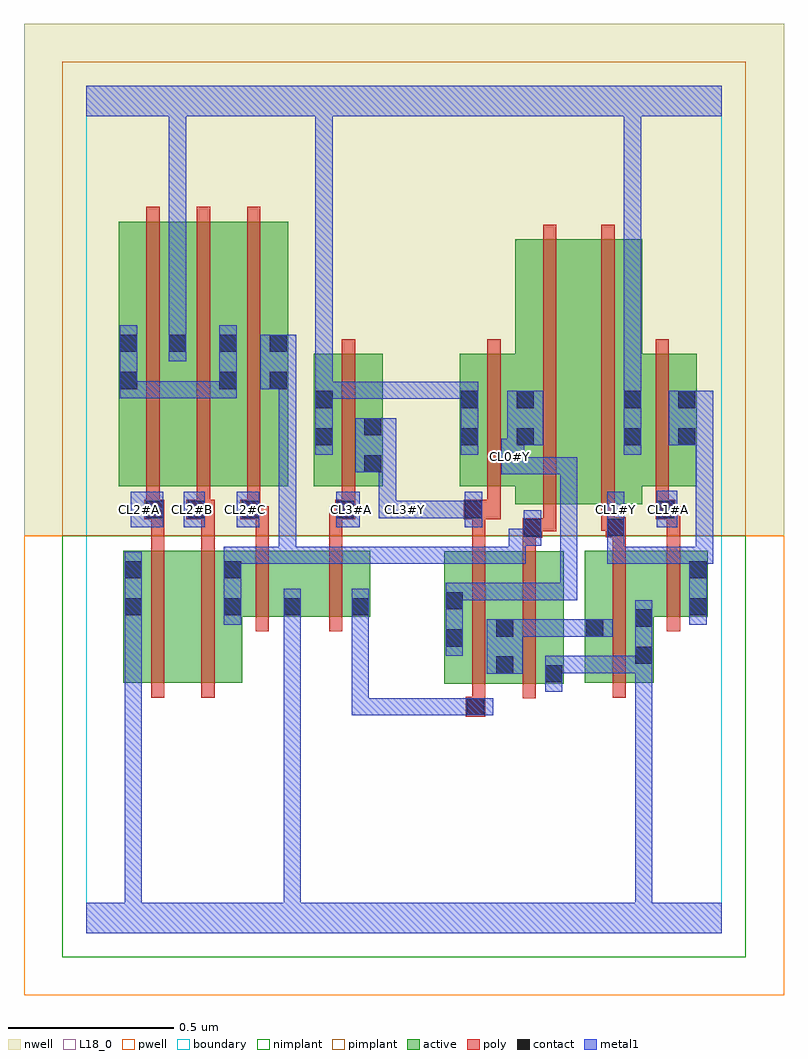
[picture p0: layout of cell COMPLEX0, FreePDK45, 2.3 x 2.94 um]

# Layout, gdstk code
import gdstk
lib = gdstk.Library(unit=1e-6, precision=1e-09)
def R(c, l, rs):  # rectangles x0, y0, x1, y1
    for r in rs: c.add(gdstk.rectangle(r[:2], r[2:], *l))
def A(c, l, x, y, w, h, nx, ny, dx, dy):  # array of equal rectangles
    R(c, l, [(x+i*dx, y+j*dy, x+i*dx+w, y+j*dy+h) for i in range(nx) for j in range(ny)])
active = (1, 0)
pwell = (2, 0)
nwell = (3, 0)
nimplant = (4, 0)
pimplant = (5, 0)
poly = (9, 0)
contact = (10, 0)
metal1 = (11, 0)
L18_0 = (18, 0)
boundary = (235, 0)

complex0 = lib.new_cell('COMPLEX0')
R(complex0, active, [(1.082,0.754,1.294,1.154), (1.234,0.754,1.442,1.154), (1.382,0.754,1.442,1.154), (0.112,0.756,0.172,1.156), (0.112,0.756,0.292,1.156), (0.292,0.756,0.472,1.156), (0.412,0.756,0.472,1.156), (1.082,0.756,1.142,1.154), (1.234,0.756,1.294,0.952), (1.506,0.756,1.714,1.156), (1.506,0.756,1.566,1.156), (1.654,0.81,1.714,0.982), (0.412,0.956,0.652,1.156), (0.592,0.956,0.652,1.156), (0.592,0.956,0.858,1.156), (0.798,0.956,0.858,1.156), (1.654,0.956,1.878,1.156), (1.818,0.956,1.878,1.156), (1.296,1.296,1.5,2.096), (1.5,1.296,1.68,2.096), (0.098,1.35,0.158,2.15), (0.098,1.35,0.306,2.15), (0.246,1.35,0.458,2.15), (0.398,1.35,0.61,2.15), (0.55,1.35,0.61,2.15), (0.688,1.35,0.896,1.75), (0.688,1.35,0.748,1.75), (0.836,1.35,0.896,1.75), (1.128,1.35,1.188,1.75), (1.128,1.35,1.356,1.75), (1.62,1.35,1.844,1.75), (1.784,1.35,1.844,1.75), (0.398,1.416,0.458,2.15), (1.296,1.47,1.356,1.644), (1.62,1.47,1.68,1.644), (0.246,1.526,0.306,2.15)])
R(complex0, pwell, [(-0.188,-0.188,2.108,1.2)])
R(complex0, nwell, [(-0.188,1.2,2.108,2.748)])
R(complex0, nimplant, [(-0.072,-0.072,1.992,1.2)])
R(complex0, pimplant, [(-0.072,1.2,1.992,2.632)])
A(complex0, poly, 0.182, 1.27, 0.04, 0.076, 3, 1, 0.152, 0)
A(complex0, poly, 0.182, 1.306, 0.04, 0.888, 3, 1, 0.152, 0)
R(complex0, poly, [(1.146,0.654,1.206,0.714), (1.166,0.674,1.206,0.75), (1.166,0.71,1.206,1.198), (1.318,0.71,1.358,1.198), (0.196,0.712,0.236,1.2), (0.348,0.712,0.388,1.2), (1.59,0.712,1.63,1.2), (0.512,0.912,0.552,1.2), (0.734,0.912,0.774,1.2), (1.754,0.912,1.794,1.2), (1.166,1.158,1.206,1.29), (1.318,1.158,1.358,1.234), (0.196,1.16,0.236,1.29), (0.348,1.16,0.388,1.29), (0.512,1.16,0.552,1.29), (0.734,1.16,0.774,1.29), (1.59,1.16,1.63,1.236), (1.754,1.16,1.794,1.29), (1.318,1.194,1.378,1.254), (1.57,1.196,1.63,1.256), (1.338,1.214,1.378,1.254), (1.338,1.214,1.42,1.254), (1.38,1.214,1.42,1.292), (1.556,1.216,1.596,1.292), (1.556,1.216,1.61,1.256), (1.57,1.216,1.61,1.256), (0.176,1.25,0.236,1.31), (0.196,1.25,0.236,1.29), (0.196,1.25,0.236,1.29), (0.302,1.25,0.388,1.31), (0.466,1.25,0.526,1.31), (0.486,1.25,0.526,1.29), (0.486,1.25,0.552,1.29), (0.734,1.25,0.792,1.29), (0.752,1.25,0.792,1.29), (0.752,1.25,0.812,1.31), (1.14,1.25,1.252,1.31), (1.166,1.25,1.206,1.29), (1.166,1.25,1.206,1.29), (1.72,1.25,1.78,1.31), (1.74,1.25,1.78,1.29), (1.74,1.25,1.794,1.29), (1.38,1.252,1.42,2.14), (1.556,1.252,1.596,2.14), (0.334,1.27,0.374,1.31), (0.334,1.27,0.374,1.31), (0.772,1.27,0.812,1.346), (1.212,1.27,1.252,1.346), (1.72,1.27,1.76,1.346), (0.772,1.306,0.812,1.794), (1.212,1.306,1.252,1.794), (1.72,1.306,1.76,1.794)])
A(complex0, contact, 0.25, 1.756, 0.052, 0.052, 3, 1, 0.152, 0)
R(complex0, contact, [(1.15,0.658,1.202,0.71), (1.386,0.758,1.438,0.81), (1.238,0.784,1.29,0.836), (1.658,0.814,1.71,0.866), (1.086,0.866,1.138,0.918), (1.238,0.896,1.29,0.948), (1.51,0.896,1.562,0.948), (1.658,0.926,1.71,0.978), (0.116,0.96,0.168,1.012), (0.416,0.96,0.468,1.012), (0.596,0.96,0.648,1.012), (0.802,0.96,0.854,1.012), (1.822,0.96,1.874,1.012), (1.086,0.978,1.138,1.03), (0.116,1.072,0.168,1.124), (0.416,1.072,0.468,1.124), (1.822,1.072,1.874,1.124), (1.322,1.198,1.374,1.25), (1.574,1.2,1.626,1.252), (0.18,1.254,0.232,1.306), (0.306,1.254,0.358,1.306), (0.47,1.254,0.522,1.306), (0.756,1.254,0.808,1.306), (1.144,1.254,1.196,1.306), (1.724,1.254,1.776,1.306), (0.84,1.392,0.892,1.444), (0.692,1.474,0.744,1.526), (1.132,1.474,1.184,1.526), (1.3,1.474,1.352,1.526), (1.624,1.474,1.676,1.526), (1.788,1.474,1.84,1.526), (0.84,1.504,0.892,1.556), (0.692,1.586,0.744,1.638), (1.132,1.586,1.184,1.638), (1.3,1.586,1.352,1.638), (1.624,1.586,1.676,1.638), (1.788,1.586,1.84,1.638), (0.102,1.644,0.154,1.696), (0.402,1.644,0.454,1.696), (0.554,1.644,0.606,1.696), (0.102,1.756,0.154,1.808)])
R(complex0, metal1, [(0,0,1.92,0.092), (0.116,0.04,0.168,0.092), (0.116,0.04,0.168,0.092), (0.116,0.04,0.168,0.092), (0.116,0.04,0.168,0.092), (0.116,0.04,0.168,0.092), (0.116,0.04,0.168,0.092), (0.116,0.04,0.168,0.092), (0.116,0.04,0.168,0.092), (0.116,0.04,0.168,0.092), (0.116,0.04,0.168,0.092), (0.116,0.04,0.168,0.092), (0.116,0.04,0.168,0.092), (0.116,0.04,0.168,0.984), (0.596,0.04,0.648,0.092), (0.596,0.04,0.648,0.092), (0.596,0.04,0.648,0.092), (0.596,0.04,0.648,0.092), (0.596,0.04,0.648,0.092), (0.596,0.04,0.648,0.092), (0.596,0.04,0.648,0.092), (0.596,0.04,0.648,0.092), (0.596,0.04,0.648,0.092), (0.596,0.04,0.648,0.092), (0.596,0.04,0.648,0.984), (1.658,0.04,1.71,0.092), (1.658,0.04,1.71,0.092), (1.658,0.04,1.71,0.092), (1.658,0.04,1.71,0.092), (1.658,0.04,1.71,0.092), (1.658,0.04,1.71,0.092), (1.658,0.04,1.71,0.092), (1.658,0.04,1.71,0.092), (1.658,0.04,1.71,0.092), (1.658,0.04,1.71,0.092), (1.658,0.04,1.71,0.092), (1.658,0.04,1.71,0.092), (1.658,0.04,1.71,0.838), (0.802,0.658,0.854,0.71), (0.802,0.658,1.152,0.71), (0.802,0.658,0.854,0.984), (1.1,0.658,1.152,0.71), (1.1,0.658,1.174,0.71), (1.122,0.658,1.23,0.71), (1.386,0.73,1.438,0.838), (1.21,0.784,1.318,0.948), (1.386,0.786,1.484,0.838), (1.432,0.786,1.484,0.838), (1.432,0.786,1.62,0.838), (1.568,0.786,1.62,0.838), (1.568,0.786,1.71,0.838), (1.658,0.786,1.71,1.006), (1.086,0.838,1.138,1.058), (1.266,0.896,1.318,0.948), (1.266,0.896,1.318,0.948), (1.266,0.896,1.438,0.948), (1.386,0.896,1.438,0.948), (1.386,0.896,1.534,0.948), (1.482,0.896,1.59,0.948), (0.116,0.932,0.168,1.152), (0.416,0.932,0.468,1.152), (0.596,0.932,0.648,0.984), (0.596,0.932,0.648,0.984), (0.596,0.932,0.648,0.984), (0.596,0.932,0.648,0.984), (0.596,0.932,0.648,0.984), (0.596,0.932,0.648,0.984), (0.596,0.932,0.648,1.04), (0.802,0.932,0.854,0.984), (0.802,0.932,0.854,0.984), (0.802,0.932,0.854,0.984), (0.802,0.932,0.854,0.984), (0.802,0.932,0.854,1.04), (1.822,0.932,1.874,1.152), (1.086,1.006,1.138,1.058), (1.086,1.006,1.138,1.058), (1.086,1.006,1.328,1.058), (1.276,1.006,1.328,1.058), (1.276,1.006,1.328,1.058), (1.276,1.006,1.328,1.058), (1.276,1.006,1.484,1.058), (1.432,1.006,1.484,1.058), (1.432,1.006,1.484,1.438), (0.416,1.1,0.468,1.168), (1.822,1.1,1.874,1.168), (0.416,1.116,0.468,1.168), (0.416,1.116,0.634,1.168), (0.582,1.116,0.634,1.168), (0.582,1.116,0.634,1.168), (0.582,1.116,0.634,1.168), (0.582,1.116,0.744,1.168), (0.582,1.116,0.634,1.696), (0.692,1.116,0.744,1.168), (0.692,1.116,0.744,1.168), (0.692,1.116,0.744,1.168), (0.692,1.116,1.028,1.168), (0.976,1.116,1.028,1.168), (0.976,1.116,1.028,1.168), (0.976,1.116,1.028,1.168), (0.976,1.116,1.138,1.168), (1.086,1.116,1.138,1.168), (1.086,1.116,1.328,1.168), (1.276,1.116,1.328,1.222), (1.574,1.116,1.874,1.168), (1.574,1.116,1.626,1.224), (1.822,1.116,1.874,1.168), (1.822,1.116,1.874,1.168), (1.822,1.116,1.894,1.168), (1.842,1.116,1.894,1.526), (1.842,1.116,1.894,1.168), (1.842,1.116,1.894,1.168), (1.276,1.17,1.374,1.222), (1.322,1.17,1.374,1.278), (1.574,1.172,1.626,1.224), (1.574,1.172,1.626,1.334), (0.134,1.226,0.232,1.334), (0.294,1.226,0.358,1.334), (0.454,1.226,0.522,1.334), (0.756,1.226,0.826,1.334), (1.144,1.226,1.196,1.334), (1.724,1.226,1.786,1.336), (0.884,1.254,0.936,1.444), (0.884,1.254,1.014,1.306), (0.962,1.254,1.014,1.306), (0.962,1.254,1.014,1.306), (0.962,1.254,1.196,1.306), (1.254,1.386,1.324,1.494), (1.272,1.386,1.324,1.438), (1.272,1.386,1.324,1.438), (1.272,1.386,1.484,1.438), (1.432,1.386,1.484,1.438), (1.432,1.386,1.484,1.438), (1.432,1.386,1.484,1.438), (0.812,1.392,0.936,1.556), (1.272,1.442,1.324,1.526), (0.692,1.446,0.744,1.666), (1.132,1.446,1.184,1.666), (1.624,1.446,1.676,1.666), (1.272,1.474,1.38,1.638), (1.76,1.474,1.894,1.638), (0.692,1.614,0.744,1.666), (0.692,1.614,0.744,1.666), (0.692,1.614,0.744,1.666), (0.692,1.614,0.744,1.666), (0.692,1.614,0.744,1.666), (0.692,1.614,0.744,1.666), (0.692,1.614,0.744,2.52), (0.692,1.614,0.854,1.666), (0.802,1.614,0.854,1.666), (0.802,1.614,0.854,1.666), (0.802,1.614,0.854,1.666), (0.802,1.614,1.184,1.666), (1.624,1.614,1.676,1.666), (1.624,1.614,1.676,1.666), (1.624,1.614,1.676,1.666), (1.624,1.614,1.676,1.666), (1.624,1.614,1.676,1.666), (1.624,1.614,1.676,1.666), (1.624,1.614,1.676,1.666), (1.624,1.614,1.676,1.666), (1.624,1.614,1.676,2.52), (0.102,1.616,0.154,1.668), (0.102,1.616,0.154,1.668), (0.102,1.616,0.154,1.836), (0.102,1.616,0.344,1.668), (0.292,1.616,0.344,1.668), (0.292,1.616,0.344,1.668), (0.292,1.616,0.344,1.668), (0.292,1.616,0.454,1.668), (0.402,1.616,0.454,1.836), (0.526,1.644,0.634,1.808), (0.582,1.644,0.634,1.696), (0.582,1.644,0.634,1.696), (0.25,1.728,0.302,1.836), (0.25,1.784,0.302,1.836), (0.25,1.784,0.302,1.836), (0.25,1.784,0.302,2.52), (0,2.468,1.92,2.56), (0.25,2.468,0.302,2.52), (0.25,2.468,0.302,2.52), (0.25,2.468,0.302,2.52), (0.25,2.468,0.302,2.52), (0.25,2.468,0.302,2.52), (0.25,2.468,0.302,2.52), (0.692,2.468,0.744,2.52), (0.692,2.468,0.744,2.52), (0.692,2.468,0.744,2.52), (0.692,2.468,0.744,2.52), (0.692,2.468,0.744,2.52), (0.692,2.468,0.744,2.52), (0.692,2.468,0.744,2.52), (0.692,2.468,0.744,2.52), (0.692,2.468,0.744,2.52), (0.692,2.468,0.744,2.52)])
A(complex0, L18_0, 0.134, 1.254, 0.052, 0.052, 3, 1, 0.16, 0)
R(complex0, L18_0, [(0,0,1.92,0.092), (0.116,0.04,0.168,0.092), (0.116,0.04,0.168,0.092), (0.116,0.04,0.168,0.092), (0.116,0.04,0.168,0.092), (0.116,0.04,0.168,0.092), (0.116,0.04,0.168,0.092), (0.116,0.04,0.168,0.092), (0.116,0.04,0.168,0.092), (0.116,0.04,0.168,0.092), (0.116,0.04,0.168,0.092), (0.116,0.04,0.168,0.092), (0.116,0.04,0.168,0.092), (0.116,0.04,0.168,0.984), (0.596,0.04,0.648,0.092), (0.596,0.04,0.648,0.092), (0.596,0.04,0.648,0.092), (0.596,0.04,0.648,0.092), (0.596,0.04,0.648,0.092), (0.596,0.04,0.648,0.092), (0.596,0.04,0.648,0.092), (0.596,0.04,0.648,0.092), (0.596,0.04,0.648,0.092), (0.596,0.04,0.648,0.092), (0.596,0.04,0.648,0.984), (1.658,0.04,1.71,0.092), (1.658,0.04,1.71,0.092), (1.658,0.04,1.71,0.092), (1.658,0.04,1.71,0.092), (1.658,0.04,1.71,0.092), (1.658,0.04,1.71,0.092), (1.658,0.04,1.71,0.092), (1.658,0.04,1.71,0.092), (1.658,0.04,1.71,0.092), (1.658,0.04,1.71,0.092), (1.658,0.04,1.71,0.092), (1.658,0.04,1.71,0.092), (1.658,0.04,1.71,0.838), (0.802,0.658,0.854,0.71), (0.802,0.658,0.854,0.984), (0.802,0.658,1.152,0.71), (1.1,0.658,1.152,0.71), (1.1,0.658,1.174,0.71), (1.122,0.658,1.23,0.71), (1.386,0.73,1.438,0.838), (1.386,0.786,1.484,0.838), (1.432,0.786,1.484,0.838), (1.432,0.786,1.62,0.838), (1.568,0.786,1.62,0.838), (1.568,0.786,1.71,0.838), (1.658,0.786,1.71,1.006), (1.086,0.838,1.138,1.058), (0.116,0.932,0.168,1.152), (0.596,0.932,0.648,0.984), (0.596,0.932,0.648,0.984), (0.596,0.932,0.648,0.984), (0.596,0.932,0.648,0.984), (0.596,0.932,0.648,0.984), (0.596,0.932,0.648,0.984), (0.596,0.932,0.648,1.04), (0.802,0.932,0.854,0.984), (0.802,0.932,0.854,0.984), (0.802,0.932,0.854,0.984), (0.802,0.932,0.854,0.984), (0.802,0.932,0.854,1.04), (1.822,0.932,1.874,1.152), (1.086,1.006,1.138,1.058), (1.086,1.006,1.138,1.058), (1.086,1.006,1.328,1.058), (1.276,1.006,1.328,1.058), (1.276,1.006,1.328,1.058), (1.276,1.006,1.328,1.058), (1.276,1.006,1.484,1.058), (1.432,1.006,1.484,1.058), (1.432,1.006,1.484,1.438), (1.822,1.1,1.874,1.168), (1.574,1.116,1.626,1.224), (1.574,1.116,1.874,1.168), (1.822,1.116,1.874,1.168), (1.822,1.116,1.874,1.168), (1.822,1.116,1.894,1.168), (1.842,1.116,1.894,1.168), (1.842,1.116,1.894,1.168), (1.842,1.116,1.894,1.526), (1.574,1.172,1.626,1.224), (1.574,1.172,1.626,1.334), (0.134,1.226,0.232,1.334), (0.294,1.226,0.358,1.334), (0.454,1.226,0.522,1.334), (0.756,1.226,0.826,1.334), (1.144,1.226,1.196,1.334), (1.724,1.226,1.786,1.336), (0.774,1.254,0.826,1.306), (0.884,1.254,1.014,1.306), (0.884,1.254,0.936,1.444), (0.934,1.254,0.986,1.306), (0.962,1.254,1.014,1.306), (0.962,1.254,1.014,1.306), (0.962,1.254,1.196,1.306), (1.574,1.254,1.626,1.306), (1.734,1.254,1.786,1.306), (1.254,1.386,1.324,1.494), (1.272,1.386,1.324,1.438), (1.272,1.386,1.324,1.438), (1.272,1.386,1.484,1.438), (1.432,1.386,1.484,1.438), (1.432,1.386,1.484,1.438), (1.432,1.386,1.484,1.438), (0.812,1.392,0.936,1.556), (1.254,1.414,1.306,1.466), (1.272,1.442,1.324,1.526), (0.692,1.446,0.744,1.666), (1.132,1.446,1.184,1.666), (1.624,1.446,1.676,1.666), (1.272,1.474,1.38,1.638), (1.76,1.474,1.894,1.638), (0.692,1.614,0.744,1.666), (0.692,1.614,0.744,1.666), (0.692,1.614,0.744,1.666), (0.692,1.614,0.744,1.666), (0.692,1.614,0.744,1.666), (0.692,1.614,0.744,1.666), (0.692,1.614,0.744,2.52), (0.692,1.614,0.854,1.666), (0.802,1.614,0.854,1.666), (0.802,1.614,0.854,1.666), (0.802,1.614,0.854,1.666), (0.802,1.614,1.184,1.666), (1.624,1.614,1.676,1.666), (1.624,1.614,1.676,1.666), (1.624,1.614,1.676,1.666), (1.624,1.614,1.676,1.666), (1.624,1.614,1.676,1.666), (1.624,1.614,1.676,1.666), (1.624,1.614,1.676,1.666), (1.624,1.614,1.676,1.666), (1.624,1.614,1.676,2.52), (0.25,1.728,0.302,1.836), (0.25,1.784,0.302,1.836), (0.25,1.784,0.302,1.836), (0.25,1.784,0.302,2.52), (0,2.468,1.92,2.56), (0.25,2.468,0.302,2.52), (0.25,2.468,0.302,2.52), (0.25,2.468,0.302,2.52), (0.25,2.468,0.302,2.52), (0.25,2.468,0.302,2.52), (0.25,2.468,0.302,2.52), (0.692,2.468,0.744,2.52), (0.692,2.468,0.744,2.52), (0.692,2.468,0.744,2.52), (0.692,2.468,0.744,2.52), (0.692,2.468,0.744,2.52), (0.692,2.468,0.744,2.52), (0.692,2.468,0.744,2.52), (0.692,2.468,0.744,2.52), (0.692,2.468,0.744,2.52), (0.692,2.468,0.744,2.52)])
R(complex0, boundary, [(0,0,1.92,2.56)])
complex0.add(gdstk.Label('CL0#Y', (1.28,1.44), layer=11, texttype=0))
complex0.add(gdstk.Label('CL1#A', (1.76,1.28), layer=11, texttype=0))
complex0.add(gdstk.Label('CL1#Y', (1.6,1.28), layer=11, texttype=0))
complex0.add(gdstk.Label('CL2#A', (0.16,1.28), layer=11, texttype=0))
complex0.add(gdstk.Label('CL2#B', (0.32,1.28), layer=11, texttype=0))
complex0.add(gdstk.Label('CL2#C', (0.48,1.28), layer=11, texttype=0))
complex0.add(gdstk.Label('CL3#A', (0.8,1.28), layer=11, texttype=0))
complex0.add(gdstk.Label('CL3#Y', (0.96,1.28), layer=11, texttype=0))

lib.write_gds('COMPLEX0.gds')
